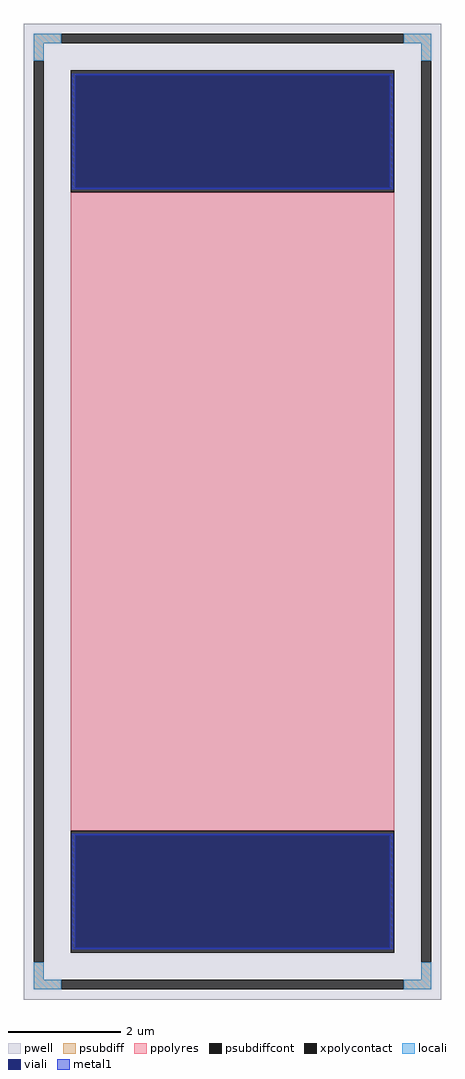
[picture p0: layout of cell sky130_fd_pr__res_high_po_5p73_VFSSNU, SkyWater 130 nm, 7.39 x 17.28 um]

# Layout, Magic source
magic
tech sky130A
magscale 1 2
<< pwell >>
rect -739 -1728 739 1728
<< psubdiff >>
rect -703 1658 -607 1692
rect 607 1658 703 1692
rect -703 1596 -669 1658
rect 669 1596 703 1658
rect -703 -1658 -669 -1596
rect 669 -1658 703 -1596
rect -703 -1692 -607 -1658
rect 607 -1692 703 -1658
<< psubdiffcont >>
rect -607 1658 607 1692
rect -703 -1596 -669 1596
rect 669 -1596 703 1596
rect -607 -1692 607 -1658
<< xpolycontact >>
rect -573 1130 573 1562
rect -573 -1562 573 -1130
<< ppolyres >>
rect -573 -1130 573 1130
<< locali >>
rect -703 1658 -607 1692
rect 607 1658 703 1692
rect -703 1596 -669 1658
rect 669 1596 703 1658
rect -703 -1658 -669 -1596
rect 669 -1658 703 -1596
rect -703 -1692 -607 -1658
rect 607 -1692 703 -1658
<< viali >>
rect -557 1147 557 1544
rect -557 -1544 557 -1147
<< metal1 >>
rect -569 1544 569 1550
rect -569 1147 -557 1544
rect 557 1147 569 1544
rect -569 1141 569 1147
rect -569 -1147 569 -1141
rect -569 -1544 -557 -1147
rect 557 -1544 569 -1147
rect -569 -1550 569 -1544
<< properties >>
string FIXED_BBOX -686 -1675 686 1675
string gencell sky130_fd_pr__res_high_po_5p73
string library sky130
string parameters w 5.730 l 11.46 m 1 nx 1 wmin 5.730 lmin 0.50 rho 319.8 val 707.6 dummy 0 dw 0.0 term 194.82 sterm 0.0 caplen 0 guard 1 glc 1 grc 1 gtc 1 gbc 1 compatible {sky130_fd_pr__res_high_po_0p35  sky130_fd_pr__res_high_po_0p69 sky130_fd_pr__res_high_po_1p41  sky130_fd_pr__res_high_po_2p85 sky130_fd_pr__res_high_po_5p73} snake 0 full_metal 1 wmax 5.730 n_guard 0 hv_guard 0 vias 1 viagb 0 viagt 0 viagl 0 viagr 0
<< end >>
